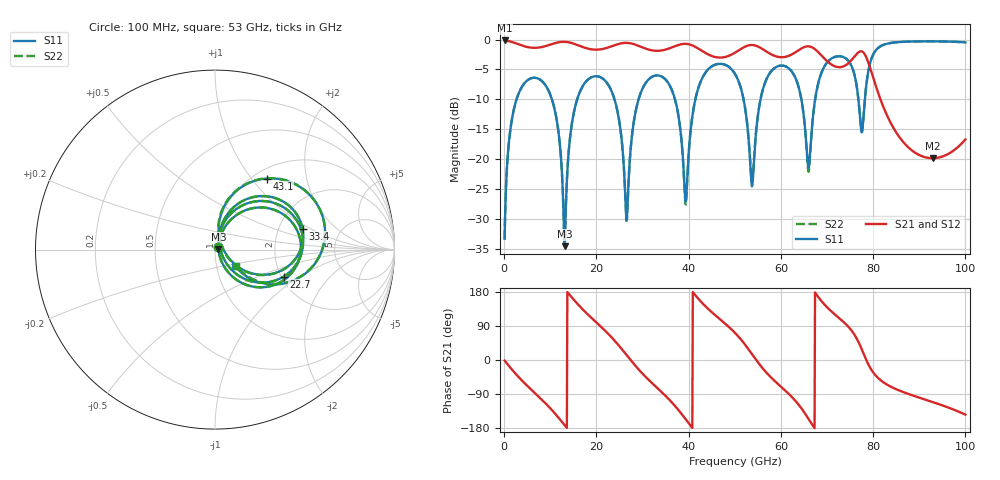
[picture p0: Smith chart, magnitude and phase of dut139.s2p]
! Touchstone file exported from HFSS 2026.1.0
!  File:  C:/ffzhzh/LocalFiles/Ansys_Project_Files/temp_train_TSV_RDL_139_1783641755_29156.aedt
!  Generated:  08:15:44 AM Jul 10, 2026
!  Design:  TSV_RDL
!  Project:  temp_train_TSV_RDL_139_1783641755_29156
! Variables:
!  h_bsmrdl = 3.57um
!  h_ox = 20um
!  h_rdl = 5um
!  h_sub = 94.18um
!  h_tmrdl = 4.17um
!  h_tsv = 94.18um
!  h_via = 3um
!  l_bsmrdl = 554.45um
!  l_sub = 4202.06um
!  l_tmrdl = 499.9um
!  m_sub = 200um
!  pitch = 53.03um
!  r_tsv = 12.62um
!  s_tmrdl = 10um
!  w_bsmrdl = 25.07um
!  w_sub = 500um
!  w_tmrdl = 21.3um
!  x_tsv_center1 = 510.55um
!  x_tsv_center2 = 1090.07um
!  x_tsv_center3 = 1611.27um
!  x_tsv_center4 = 2190.79um
!  x_tsv_center5 = 2711.99um
!  x_tsv_center6 = 3291.51um
# GHz S MA R 50.000000
! Terminal data exported
! Port[1] = TM_RDL1_1_T1
! Port[2] = TM_RDL5_1_T1
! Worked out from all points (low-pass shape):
!   1000 points, 100 MHz to 100 GHz, reference 50 ohm
!   highest |S21| = -0.14 dB at 100 MHz (marker M1); lowest = -19.9 dB at 92.9 GHz (marker M2)
!   |S21| within 3 dB of the highest: start of sweep to 69.4 GHz; 75.63 GHz to 78.61 GHz (2.981 GHz wide, 3.86 % of centre)
!   lowest |S11| = -34.6 dB at 13.1 GHz (marker M3), VSWR 1.04, Z = 51.9 + j0.122 ohm
!   |S11| at or under -10 dB: 10.35 GHz to 15.83 GHz (5.478 GHz wide, 41.8 % of centre); 23.92 GHz to 29.14 GHz (5.222 GHz wide, 19.7 % of centre); 37.03 GHz to 41.45 GHz (4.418 GHz wide, 11.3 % of centre) (the widest 3 of 7)
!   |S22| runs from -34.5 to -0.3 dB; largest |S21 - S12| = 2e-13
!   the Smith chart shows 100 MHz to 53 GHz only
!   S11 on the Smith chart (normalised r, x): 100 MHz: 1.03, +0.03; 22.7 GHz: 2.06, -0.74; 33.4 GHz: 2.72, +0.83; 43.1 GHz: 1.14, +1.19; 53 GHz: 1.23, -0.23
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0.1  0.02148 41.7  0.9842 -1.6  0.9842 -1.6  0.02148 41.7
! Gamma 0 0 0 0
! Port Impedance 50 0 50 0
2  0.2496 55.6  0.9473 -29.6  0.9473 -29.6  0.2496 55.6
6.3  0.4788 5.1  0.8542 -82.9  0.8542 -82.9  0.4788 5.1
10.8  0.2748 -46.9  0.9291 -138.2  0.9291 -138.2  0.2749 -46.9
13.1  0.01863 3.6  0.959 -171.7  0.959 -171.7  0.0188 3.4
16.8  0.3925 43.4  0.8738 136.5  0.8738 136.5  0.3924 43.3
22.7  0.4108 -21.5  0.8631 67.4  0.8631 67.4  0.4107 -21.6
26.6  0.03093 24.7  0.9393 12.3  0.9393 12.3  0.03059 24.8
28.9  0.2924 62.6  0.8941 -21.4  0.8941 -21.4  0.2923 62.6
33.4  0.5012 13.3  0.806 -76.2  0.806 -76.2  0.5011 13.1
37.1  0.3096 -26.9  0.8828 -122.0  0.8828 -122.0  0.3093 -27.3
39.3  0.04436 12.1  0.9221 -155.5  0.9221 -155.5  0.04189 11.5
43.1  0.4891 54.1  0.7956 148.4  0.7956 148.4  0.489 54.4
50.1  0.5126 -16.0  0.7798 70.9  0.7798 70.9  0.5128 -15.7
53  0.1461 -39.7  0.8951 28.0  0.8951 28.0  0.1478 -38.1
60.1  0.6062 18.3  0.7123 -71.4  0.7123 -71.4  0.6063 17.8
66.7  0.1774 71.8  0.8644 -168.9  0.8644 -168.9  0.1744 73.4
73.3  0.7202 14.2  0.5926 103.4  0.5926 103.4  0.7202 14.4
77.9  0.2207 55.0  0.7797 17.5  0.7797 17.5  0.2227 54.5
83.4  0.9312 17.2  0.2155 -67.6  0.2155 -67.6  0.9312 17.1
92.9  0.9676 -21.2  0.1016 -110.9  0.1016 -110.9  0.9676 -21.2
100  0.9491 -51.4  0.1458 -144.2  0.1458 -144.2  0.949 -51.4
